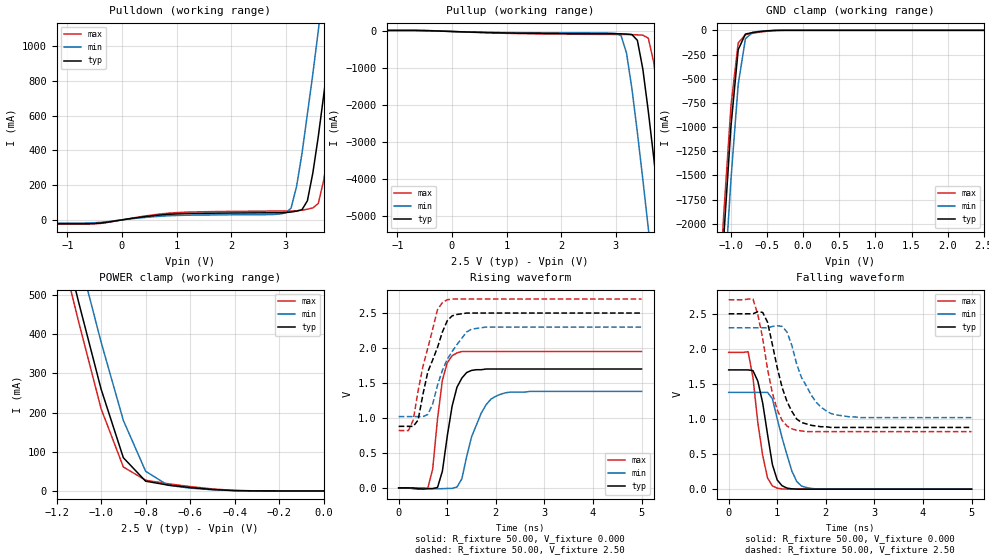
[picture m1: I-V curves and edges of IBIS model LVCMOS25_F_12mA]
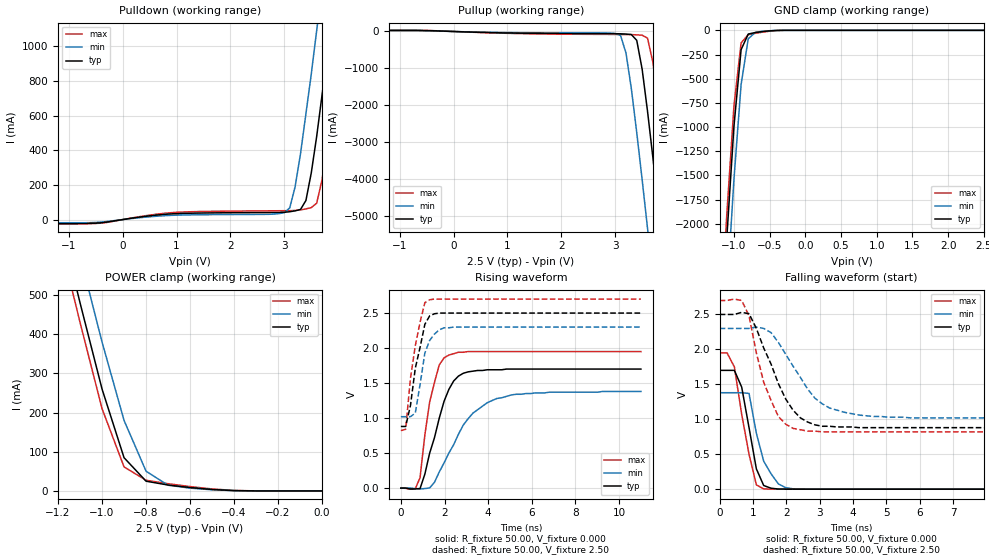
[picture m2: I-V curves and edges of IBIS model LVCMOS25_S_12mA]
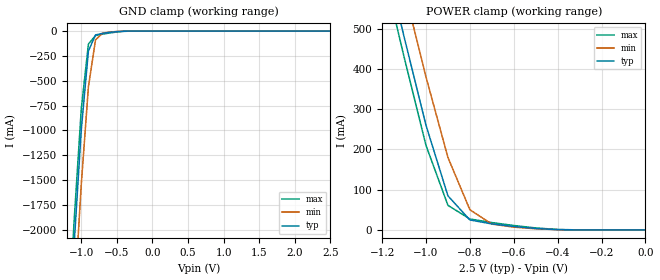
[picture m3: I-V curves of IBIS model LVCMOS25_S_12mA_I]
| / 7\'7
| \ \   Xilinx Inc.
| / /
| \_\/.\   IBIS Models for Spartan-3
| IBIS file spartan3.ibs created by appending individual files created
| using s2ibis2 version 1.1 North Carolina State University
| Electronics Research Laboratory 1995
[IBIS ver]   3.2
[File name]   DPU_matrix_multiplication.ibs
[File Rev]   3.4.4
[Date]   Mon Feb 22 00:05:14 2016
[Source]   Spartan-3 layout and silicon models.
[Notes]   Xilinx Spartan-3 I/O IBIS models.
   To accurately model package parasitics, please follow the
   instructions at:  http://www.xilinx.com/xlnx/
   xil_ans_display.jsp?getPagePath=11754
   LVDS and LVPECL drivers require the use of external
   termination resistors to provide the correct voltage levels.
   For more information, refer to the Spartan-3 documentation.
   NOTE: This file is compliant with IBIS Version 3.2, but it
   may not implement all approved 3.2 features.
   NOTE:  Newer versions of the buffer models may be available.
   Check the web (http://www.xilinx.com/support/sw_ibis.htm) for
   the latest file revision.  However, please be aware that the
   web files are not compatible for use with IBISWriter, and
   must be manually annotated, should their use be preferred.
[Disclaimer] The data in these models is derived from HSPICE simulations
                 using modeling information extracted from the target process.
                 While a great deal of care has been taken to provide
                 information that is accurate, this model is considered
                 PRELIMINARY as it has not been verified by actual silicon
                 measurement.
[Copyright]   Copyright 2004 Xilinx Inc., All rights reserved.
|   Component Spartan-3
[Component]   Spartan-3
[Manufacturer]   Xilinx, Inc.
[Package]
| For Package Type tq144
| variable   typ   min   max
R_pkg   0.130m   0.123m   0.137m
L_pkg   8.3nH   7.5nH   9.2nH
C_pkg   1.0pF   0.8pF   1.3pF
[Pin]  signal_name   model_name   R_pin   L_pin   C_pin
P20   Aout<1>   LVCMOS25_S_12mA_O
P25   Result<2>   LVCMOS25_S_12mA_O
P47   Aout<2>   LVCMOS25_S_12mA_O
P24   Result<3>   LVCMOS25_S_12mA_O
P40   Aout<3>   LVCMOS25_S_12mA_O
P33   Result<4>   LVCMOS25_S_12mA_O
P26   Result<5>   LVCMOS25_S_12mA_O
P28   Result<6>   LVCMOS25_S_12mA_O
P46   Result<7>   LVCMOS25_S_12mA_O
P30   Result<8>   LVCMOS25_S_12mA_O
P31   Result<9>   LVCMOS25_S_12mA_O
P51   Bin<0>   LVCMOS25_S_12mA_I
P53   Bin<1>   LVCMOS25_S_12mA_I
P56   Bin<2>   LVCMOS25_S_12mA_I
P57   Bin<3>   LVCMOS25_S_12mA_I
P50   Bout<0>   LVCMOS25_S_12mA_O
P52   Bout<1>   LVCMOS25_S_12mA_O
P58   Bout<2>   LVCMOS25_S_12mA_O
P59   Bout<3>   LVCMOS25_S_12mA_O
P35   Ain<0>   LVCMOS25_S_12mA_I
P55   CLK   LVCMOS25_S_12mA_I
P21   Ain<1>   LVCMOS25_S_12mA_I
P44   Ain<2>   LVCMOS25_S_12mA_I
P41   Ain<3>   LVCMOS25_S_12mA_I
P32   Result<0>   LVCMOS25_S_12mA_O
P36   Aout<0>   LVCMOS25_S_12mA_O
P27   Result<1>   LVCMOS25_S_12mA_O
P1   IO_L01P_7/VRN_7   NC
P2   IO_L01N_7/VRP_7   NC
P3   VCCO_7   POWER
P4   IO/VREF_7   NC
P5   IO_L20P_7   NC
P6   IO_L20N_7   NC
P7   IO_L21P_7   NC
P8   IO_L21N_7   NC
P9   GND   GND
P10   IO_L22P_7   NC
P11   IO_L22N_7   NC
P12   IO_L23P_7   NC
P13   IO_L23N_7   NC
P14   IO_L24P_7   NC
P15   IO_L24N_7   NC
P16   GND   GND
P17   IO_L40P_7   NC
P18   IO_L40N_7/VREF_7   NC
P19   VCCO_7   POWER
P22   GND   GND
P23   IO_L24P_6   NC
P29   GND   GND
P34   VCCO_6   POWER
P37   M1   LVCMOS25_F_12mA
P38   M0   LVCMOS25_F_12mA
P39   M2   LVCMOS25_F_12mA
P42   GND   GND
P43   VCCO_5   POWER
P45   GND   GND
P48   VCCAUX   POWER
P49   VCCINT   POWER
P54   VCCO_5   POWER
P60   D2   LVCMOS25_F_12mA
P61   VCCINT   POWER
P62   VCCAUX   POWER
P63   D1   LVCMOS25_F_12mA
P64   GND   GND
P65   DIN/D0   LVCMOS25_F_12mA
P66   VCCO_4   POWER
P67   GND   GND
P68   IO_L01P_4/VRN_4   NC
P69   IO_L01N_4/VRP_4   NC
P70   IO/VREF_4   NC
P71   DONE   LVCMOS25_F_12mA
P72   CCLK   LVCMOS25_S_12mA
P73   IO_L01P_3/VRN_3   NC
P74   IO_L01N_3/VRP_3   NC
P75   VCCO_3   POWER
P76   IO   NC
P77   IO_L20P_3   NC
P78   IO_L20N_3   NC
P79   IO_L21P_3   NC
P80   IO_L21N_3   NC
P81   GND   GND
P82   IO_L22P_3   NC
P83   IO_L22N_3   NC
P84   IO_L23P_3/VREF_3   NC
P85   IO_L23N_3   NC
P86   IO_L24P_3   NC
P87   IO_L24N_3   NC
P88   GND   GND
P89   IO_L40P_3   NC
P90   IO_L40N_3/VREF_3   NC
P91   VCCO_3   POWER
P92   IO_L40P_2/VREF_2   NC
P93   IO_L40N_2   NC
P94   GND   GND
P95   IO_L24P_2   NC
P96   IO_L24N_2   NC
P97   IO_L23P_2   NC
P98   IO_L23N_2/VREF_2   NC
P99   IO_L22P_2   NC
P100   IO_L22N_2   NC
P101   GND   GND
P102   IO_L21P_2   NC
P103   IO_L21N_2   NC
P104   IO_L20P_2   NC
P105   IO_L20N_2   NC
P106   VCCO_2   POWER
P107   IO_L01P_2/VRN_2   NC
P108   IO_L01N_2/VRP_2   NC
P109   TDO   LVCMOS25_F_12mA
P110   TCK   LVCMOS25_F_12mA
P111   TMS   LVCMOS25_F_12mA
P112   IO_L01P_1/VRN_1   NC
P113   IO_L01N_1/VRP_1   NC
P114   GND   GND
P115   VCCO_1   POWER
P116   IO   NC
P117   GND   GND
P118   IO_L28P_1   NC
P119   IO_L28N_1   NC
P120   VCCAUX   POWER
P121   VCCINT   POWER
P122   IO_L31P_1   NC
P123   IO_L31N_1/VREF_1   NC
P124   GCLK4   LVCMOS25_F_12mA
P125   GCLK5   LVCMOS25_F_12mA
P126   VCCO_1   POWER
P127   GCLK6   LVCMOS25_F_12mA
P128   GCLK7   LVCMOS25_F_12mA
P129   IO_L31P_0/VREF_0   NC
P130   IO_L31N_0   NC
P131   IO_L30P_0   NC
P132   IO_L30N_0   NC
P133   VCCINT   POWER
P134   VCCAUX   POWER
P135   IO_L27P_0   NC
P136   GND   GND
P137   IO_L27N_0   NC
P138   VCCO_0   POWER
P139   GND   GND
P140   IO_L01P_0/VRN_0   NC
P141   IO_L01N_0/VRP_0   NC
P142   HSWAP_EN   LVCMOS25_F_12mA
P143   PROG_B   LVCMOS25_F_12mA
P144   TDI   LVCMOS25_F_12mA
[Diff Pin]   inv_pin   vdiff   tdelay_typ   tdelay_min   tdelay_max
| Models and submodels in the file (4): LVCMOS25_F_12mA (I/O), LVCMOS25_S_12mA (I/O), LVCMOS25_S_12mA_I (Input), LVCMOS25_S_12mA_O (Output)
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|   Model LVCMOS25_F_12mA
[Model]   LVCMOS25_F_12mA
Model_type   I/O
Polarity   Non-Inverting
Enable   Active-Low
Vinl =   0.70V
Vinh =   1.70V
Vmeas =   1.25V
Cref =  0.000F
Rref =   1.00M
Vref =  0.000V
C_comp   6.38pF   4.60pF   8.23pF
[Temperature Range]   25.00   85.00   0.000
[Voltage Range]   2.50V   2.30V   2.70V
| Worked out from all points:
|   slope of the pulldown table from 0 to 0.375 V, typ, clamps not added: 22.4 ohm
|   slope of the pullup table from 0 to 0.375 V, typ, clamps not added: 20.9 ohm
|   GND clamp passes 1 mA (typ) near -0.38 V on its own axis
|   POWER clamp passes 1 mA (typ) near -0.41 V on its own axis
|   rising waveform, R_fixture 50.00, V_fixture 0.000: 20-80 % time 250ps typ, 383ps min, 191ps max; typ from 0 V to 1.7 V
|   rising waveform, R_fixture 50.00, V_fixture 2.50: 20-80 % time 412ps typ, 466ps min, 365ps max; typ from 0.88 V to 2.5 V
|   falling waveform, R_fixture 50.00, V_fixture 0.000: 20-80 % time 246ps typ, 329ps min, 223ps max; typ from 1.7 V to 0 V
|   falling waveform, R_fixture 50.00, V_fixture 2.50: 20-80 % time 369ps typ, 462ps min, 324ps max; typ from 2.5 V to 0.88 V
[Pulldown]
| voltage   I(typ)   I(min)   I(max)
-2.5V     -22.79mA   -18.33mA   -24.32mA
3V        42.13mA    39.99mA    51.17mA
3.1V      45.16mA    67.34mA    51.44mA
3.2V      50.35mA    190mA      52.36mA
3.4V      110mA      610mA      61.47mA
3.5V      270mA      840mA      69.07mA
3.6V      480mA      1.09A      94.52mA
3.7V      720mA      1.34A      230mA
3.8V      960mA      1.59A      440mA
4V        1.47A      2.1A       920mA
4.2V      1.98A      2.62A      1.42A
5V        4.06A      4.7A       3.49A
[Pullup]
| voltage   I(typ)   I(min)   I(max)
-2.5V     29.39mA    22.89mA    32.78mA
3.1V      -62.94mA   -110mA     -80.48mA
3.2V      -69.54mA   -580mA     -81.46mA
3.3V      -83.32mA   -1.55A     -84.45mA
3.4V      -240mA     -2.74A     -91.48mA
3.5V      -1.02A     -4.01A     -100mA
3.6V      -2.16A     -5.33A     -180mA
3.7V      -3.42A     -6.68A     -840mA
3.8V      -4.74A     -8.05A     -1.95A
4V        -7.47A     -10.81A    -4.52A
4.2V      -10.25A    -13.6A     -7.24A
5V        -21.56A    -24.91A    -18.51A
[GND_clamp]
| voltage   I(typ)   I(min)   I(max)
-2.5V     -21.56A    -22.07A    -21.35A
-1.2V     -3.41A     -4.01A     -3.17A
-1.1V     -2.14A     -2.73A     -1.9A
-1V       -990mA     -1.54A     -780mA
-900mV    -200mA     -560mA     -130mA
-800mV    -38.51mA   -87.42mA   -44.56mA
-700mV    -22.72mA   -20.52mA   -30.56mA
-400mV    -1.21mA    -970uA     -2.67mA
2.5V      19.29nA    8.49uA     24.01nA
[POWER_clamp]
| voltage   I(typ)   I(min)   I(max)
-2.5V     4.06A      4.18A      4.02A
-1.2V     710mA      840mA      660mA
-1.1V     480mA      600mA      430mA
-1V       260mA      380mA      210mA
-900mV    84.79mA    180mA      61.18mA
-800mV    24.88mA    50.29mA    27.26mA
-700mV    15.03mA    14.55mA    18.43mA
-600mV    8.66mA     7.1mA      11.09mA
-400mV    790uA      730uA      1.23mA
0V        19.29nA    79.37nA    32.11nA
[Ramp]
dV/dt_r   1.02/0.24n   0.83/0.36n   1.17/0.19n
dV/dt_f   0.97/0.36n   0.77/0.46n   1.13/0.31n
R_load = 50.00
[Rising Waveform]
R_fixture = 50.00
V_fixture = 0.000
| time   V(typ)   V(min)   V(max)
0s        0V         1.57uV     0V
600ps     -12.38mV   -4.86mV    -2.14mV
700ps     -9.94mV    -10.81mV   270mV
900ps     240mV      -10.52mV   1.54V
1.1ns     1.17V      -6.78mV    1.89V
1.2ns     1.44V      12.6mV     1.93V
1.4ns     1.65V      450mV      1.95V
1.7ns     1.69V      1.07V      1.95V
2ns       1.7V       1.31V      1.95V
5ns       1.7V       1.38V      1.95V
[Rising Waveform]
R_fixture = 50.00
V_fixture = 2.50
V_fixture_min = 2.30
V_fixture_max = 2.70
| time   V(typ)   V(min)   V(max)
0s        880mV      1.02V      820mV
200ps     880mV      1.02V      820mV
300ps     880mV      1.02V      970mV
400ps     970mV      1.02V      1.39V
600ps     1.66V      1.05V      2V
700ps     1.83V      1.2V       2.27V
800ps     2.01V      1.47V      2.55V
1ns       2.39V      1.84V      2.69V
1.5ns     2.5V       2.27V      2.7V
5ns       2.5V       2.3V       2.7V
[Falling Waveform]
R_fixture = 50.00
V_fixture = 0.000
| time   V(typ)   V(min)   V(max)
0s        1.7V       1.38V      1.95V
400ps     1.7V       1.38V      1.96V
500ps     1.69V      1.38V      1.59V
600ps     1.54V      1.38V      950mV
800ps     780mV      1.38V      160mV
900ps     350mV      1.29V      47.26mV
1ns       130mV      1V         14.08mV
1.3ns     4.83mV     260mV      220uV
1.5ns     330uV      43.95mV    6.05uV
5ns       0V         0V         0V
[Falling Waveform]
R_fixture = 50.00
V_fixture = 2.50
V_fixture_min = 2.30
V_fixture_max = 2.70
| time   V(typ)   V(min)   V(max)
0s        2.5V       2.3V       2.7V
500ps     2.5V       2.3V       2.71V
700ps     2.52V      2.3V       2.15V
800ps     2.38V      2.3V       1.71V
1ns       1.73V      2.33V      1.13V
1.3ns     1.11V      2.05V      860mV
1.5ns     950mV      1.59V      830mV
1.7ns     910mV      1.34V      820mV
2.1ns     880mV      1.08V      820mV
5ns       880mV      1.02V      820mV
|   Model LVCMOS25_S_12mA
[Model]   LVCMOS25_S_12mA
Model_type   I/O
Polarity   Non-Inverting
Enable   Active-Low
Vinl =   0.70V
Vinh =   1.70V
Vmeas =   1.25V
Cref =  0.000F
Rref =   1.00M
Vref =  0.000V
C_comp   6.38pF   4.60pF   8.23pF
[Temperature Range]   25.00   85.00   0.000
[Voltage Range]   2.50V   2.30V   2.70V
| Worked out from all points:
|   slope of the pulldown table from 0 to 0.375 V, typ, clamps not added: 22.4 ohm
|   slope of the pullup table from 0 to 0.375 V, typ, clamps not added: 20.9 ohm
|   GND clamp passes 1 mA (typ) near -0.38 V on its own axis
|   POWER clamp passes 1 mA (typ) near -0.41 V on its own axis
|   rising waveform, R_fixture 50.00, V_fixture 0.000: 20-80 % time 933ps typ, 1.61ns min, 617ps max; typ from 0 V to 1.7 V
|   rising waveform, R_fixture 50.00, V_fixture 2.50: 20-80 % time 541ps typ, 469ps min, 523ps max; typ from 0.88 V to 2.5 V
|   falling waveform, R_fixture 50.00, V_fixture 0.000: 20-80 % time 383ps typ, 489ps min, 434ps max; typ from 1.7 V to 0 V
|   falling waveform, R_fixture 50.00, V_fixture 2.50: 20-80 % time 901ps typ, 1.09ns min, 666ps max; typ from 2.5 V to 0.88 V
[Pulldown]
| voltage   I(typ)   I(min)   I(max)
-2.5V     -23.3mA    -18.33mA   -26.2mA
3V        42.13mA    39.99mA    51.11mA
3.1V      45.16mA    67.34mA    51.38mA
3.2V      50.35mA    190mA      52.3mA
3.4V      110mA      610mA      61.42mA
3.5V      270mA      840mA      69.02mA
3.6V      480mA      1.09A      94.47mA
3.7V      720mA      1.34A      230mA
3.8V      960mA      1.59A      440mA
4V        1.47A      2.1A       920mA
4.2V      1.98A      2.62A      1.42A
5V        4.06A      4.7A       3.49A
[Pullup]
| voltage   I(typ)   I(min)   I(max)
-2.5V     29.39mA    22.89mA    32.78mA
3.1V      -62.94mA   -110mA     -80.48mA
3.2V      -69.54mA   -580mA     -81.46mA
3.3V      -83.32mA   -1.55A     -84.45mA
3.4V      -240mA     -2.74A     -91.48mA
3.5V      -1.02A     -4.01A     -100mA
3.6V      -2.16A     -5.33A     -180mA
3.7V      -3.42A     -6.68A     -840mA
3.8V      -4.74A     -8.05A     -1.95A
4V        -7.47A     -10.81A    -4.52A
4.2V      -10.25A    -13.6A     -7.24A
5V        -21.56A    -24.91A    -18.51A
[GND_clamp]
| voltage   I(typ)   I(min)   I(max)
-2.5V     -21.56A    -22.07A    -21.35A
-1.2V     -3.41A     -4.01A     -3.17A
-1.1V     -2.14A     -2.73A     -1.9A
-1V       -990mA     -1.54A     -780mA
-900mV    -200mA     -560mA     -130mA
-800mV    -38.51mA   -87.42mA   -44.56mA
-700mV    -22.72mA   -20.52mA   -30.56mA
-400mV    -1.21mA    -970uA     -2.67mA
2.5V      19.29nA    8.49uA     24.01nA
[POWER_clamp]
| voltage   I(typ)   I(min)   I(max)
-2.5V     4.06A      4.18A      4.02A
-1.2V     710mA      840mA      660mA
-1.1V     480mA      600mA      430mA
-1V       260mA      380mA      210mA
-900mV    84.79mA    180mA      61.18mA
-800mV    24.88mA    50.29mA    27.26mA
-700mV    15.03mA    14.55mA    18.43mA
-600mV    8.66mA     7.1mA      11.09mA
-400mV    790uA      730uA      1.23mA
0V        19.29nA    79.37nA    32.11nA
[Ramp]
dV/dt_r   1.02/0.87n   0.83/1.68n   1.17/0.58n
dV/dt_f   0.97/0.82n   0.77/1.19n   1.13/0.63n
R_load = 50.00
[Rising Waveform]
R_fixture = 50.00
V_fixture = 0.000
| time   V(typ)   V(min)   V(max)
0s        0V         1.57uV     0V
660ps     -11.67mV   -6.64mV    -10.51mV
880ps     -6.84mV    -12.52mV   150mV
1.32ns    500mV      2.32mV     1.23V
1.76ns    1V         230mV      1.76V
2.2ns     1.41V      500mV      1.9V
2.64ns    1.6V       770mV      1.94V
3.3ns     1.67V      1.07V      1.95V
4.4ns     1.69V      1.28V      1.95V
11ns      1.7V       1.38V      1.95V
[Rising Waveform]
R_fixture = 50.00
V_fixture = 2.50
V_fixture_min = 2.30
V_fixture_max = 2.70
| time   V(typ)   V(min)   V(max)
0s        880mV      1.02V      820mV
220ps     880mV      1.02V      840mV
440ps     1.18V      1.02V      1.57V
660ps     1.71V      1.07V      2.03V
880ps     2.01V      1.48V      2.37V
1.1ns     2.34V      1.93V      2.65V
1.32ns    2.46V      2.11V      2.69V
1.76ns    2.5V       2.26V      2.7V
2.42ns    2.5V       2.3V       2.7V
11ns      2.5V       2.3V       2.7V
[Falling Waveform]
R_fixture = 50.00
V_fixture = 0.000
| time   V(typ)   V(min)   V(max)
0s        1.7V       1.38V      1.95V
220ps     1.7V       1.38V      1.95V
440ps     1.7V       1.38V      1.75V
660ps     1.46V      1.38V      1.07V
880ps     880mV      1.37V      500mV
1.1ns     290mV      800mV      61.49mV
1.32ns    52.25mV    400mV      3.4mV
1.76ns    1.88mV     75.37mV    710uV
2.2ns     640uV      4.99mV     270uV
11ns      160nV      1.61uV     230nV
[Falling Waveform]
R_fixture = 50.00
V_fixture = 2.50
V_fixture_min = 2.30
V_fixture_max = 2.70
| time   V(typ)   V(min)   V(max)
0s        2.5V       2.3V       2.7V
660ps     2.53V      2.3V       2.7V
880ps     2.51V      2.3V       2.48V
1.32ns    2.02V      2.3V       1.53V
1.76ns    1.51V      2.1V       1.04V
2.2ns     1.13V      1.76V      870mV
2.64ns    960mV      1.43V      830mV
3.08ns    900mV      1.22V      820mV
4.18ns    880mV      1.06V      820mV
11ns      880mV      1.02V      820mV
|   Model LVCMOS25_S_12mA_I
[Model]   LVCMOS25_S_12mA_I
Model_type   Input
Polarity   Non-Inverting
Vinl =   0.70V
Vinh =   1.70V
C_comp   6.38pF   4.60pF   8.23pF
[Temperature Range]   25.00   85.00   0.000
[Voltage Range]   2.50V   2.30V   2.70V
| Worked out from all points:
|   GND clamp passes 1 mA (typ) near -0.38 V on its own axis
|   POWER clamp passes 1 mA (typ) near -0.41 V on its own axis
[GND_clamp]
| voltage   I(typ)   I(min)   I(max)
-2.5V     -21.56A    -22.07A    -21.35A
-1.2V     -3.41A     -4.01A     -3.17A
-1.1V     -2.14A     -2.73A     -1.9A
-1V       -990mA     -1.54A     -780mA
-900mV    -200mA     -560mA     -130mA
-800mV    -38.51mA   -87.42mA   -44.56mA
-700mV    -22.72mA   -20.52mA   -30.56mA
-400mV    -1.21mA    -970uA     -2.67mA
2.5V      19.29nA    8.49uA     24.01nA
[POWER_clamp]
| voltage   I(typ)   I(min)   I(max)
-2.5V     4.06A      4.18A      4.02A
-1.2V     710mA      840mA      660mA
-1.1V     480mA      600mA      430mA
-1V       260mA      380mA      210mA
-900mV    84.79mA    180mA      61.18mA
-800mV    24.88mA    50.29mA    27.26mA
-700mV    15.03mA    14.55mA    18.43mA
-600mV    8.66mA     7.1mA      11.09mA
-400mV    790uA      730uA      1.23mA
0V        19.29nA    79.37nA    32.11nA
